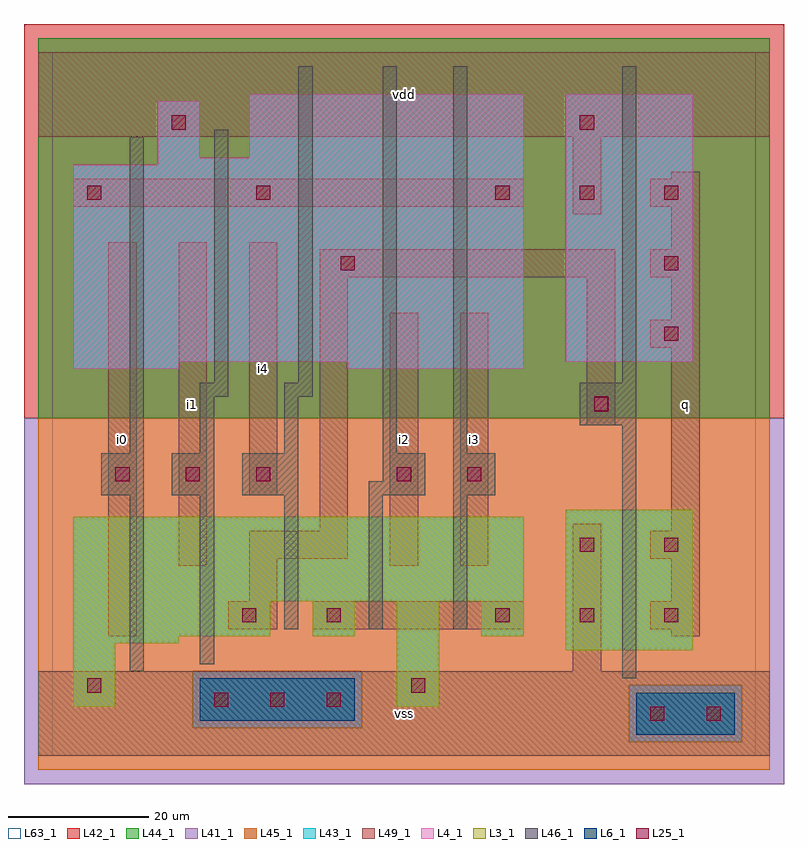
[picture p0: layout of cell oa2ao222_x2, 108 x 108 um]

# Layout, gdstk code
import gdstk
lib = gdstk.Library(unit=1e-6, precision=1e-09)
def R(c, l, rs):  # rectangles x0, y0, x1, y1
    for r in rs: c.add(gdstk.rectangle(r[:2], r[2:], *l))
def A(c, l, x, y, w, h, nx, ny, dx, dy):  # array of equal rectangles
    R(c, l, [(x+i*dx, y+j*dy, x+i*dx+w, y+j*dy+h) for i in range(nx) for j in range(ny)])
L3_1 = (3, 1)
L4_1 = (4, 1)
L6_1 = (6, 1)
L25_1 = (25, 1)
L41_1 = (41, 1)
L42_1 = (42, 1)
L43_1 = (43, 1)
L44_1 = (44, 1)
L45_1 = (45, 1)
L46_1 = (46, 1)
L49_1 = (49, 1)
L63_1 = (63, 1)

oa2ao222_x2 = lib.new_cell('oa2ao222_x2')
R(oa2ao222_x2, L3_1, [(3,7,9,16), (49,7,55,22), (73,15,91,35), (3,16,18,17), (3,17,31,22), (37,17,43,22), (61,17,67,22), (3,22,67,34)])
R(oa2ao222_x2, L4_1, [(3,55,18,56), (42,55,67,56), (3,56,67,84), (73,56,91,94), (15,84,67,85), (15,85,21,93), (28,85,67,94)])
R(oa2ao222_x2, L6_1, [(83,3,97,9), (83,3,97,9), (21,5,43,11), (21,5,43,11)])
A(oa2ao222_x2, L25_1, 23, 7, 2, 2, 3, 1, 8, 0)
A(oa2ao222_x2, L25_1, 63, 19, 2, 2, 3, 2, 12, 60)
A(oa2ao222_x2, L25_1, 9, 39, 2, 2, 3, 1, 10, 0)
R(oa2ao222_x2, L25_1, [(85,5,87,7), (93,5,95,7), (5,9,7,11), (51,9,53,11), (27,19,29,21), (39,19,41,21), (75,29,77,31), (87,29,89,31), (49,39,51,41), (59,39,61,41), (77,49,79,51), (87,59,89,61), (41,69,43,71), (87,69,89,71), (5,79,7,81), (29,79,31,81), (17,89,19,91), (75,89,77,91)])
R(oa2ao222_x2, L41_1, [(-4,-4,104,48)])
R(oa2ao222_x2, L42_1, [(-4,48,104,104)])
R(oa2ao222_x2, L43_1, [(83,3,97,9), (21,5,43,11), (3,7,9,16), (49,7,55,22), (73,15,91,35), (3,16,18,17), (3,17,31,22), (37,17,43,22), (61,17,67,22), (3,22,67,34), (3,55,18,56), (42,55,67,56), (3,56,67,84), (73,56,91,94), (15,84,67,85), (15,85,21,93), (28,85,67,94)])
R(oa2ao222_x2, L44_1, [(82,2,98,10), (20,4,44,12), (-2,48,102,102)])
R(oa2ao222_x2, L45_1, [(-2,-2,102,2), (-2,2,82,4), (98,2,102,10), (-2,4,20,12), (44,4,82,10), (44,10,102,12), (-2,12,102,48)])
A(oa2ao222_x2, L46_1, 33, 18, 2, 19, 3, 1, 12, 0)
R(oa2ao222_x2, L46_1, [(81,11,83,47), (11,12,13,37), (21,13,23,37), (7,37,13,43), (17,37,23,43), (27,37,35,43), (45,37,53,39), (57,37,63,43), (47,39,53,43), (11,43,13,88), (21,43,23,51), (33,43,35,51), (47,43,49,98), (57,43,59,98), (75,47,83,53), (21,51,25,53), (33,51,37,53), (23,53,25,89), (35,53,37,98), (81,53,83,98)])
A(oa2ao222_x2, L49_1, 85, 58, 7, 4, 1, 3, 0, 10)
R(oa2ao222_x2, L49_1, [(-2,0,102,12), (74,12,78,33), (8,17,12,73), (88,17,92,18), (25,18,32,22), (37,18,67,22), (85,18,92,22), (28,22,32,28), (88,22,92,28), (18,27,22,73), (48,27,52,63), (58,27,62,63), (28,28,42,32), (85,28,92,32), (38,32,42,68), (88,32,92,58), (28,37,32,73), (76,47,80,68), (88,62,92,68), (38,68,80,72), (88,72,92,78), (74,77,78,88), (3,78,67,82), (88,82,92,83), (-2,88,102,100)])
R(oa2ao222_x2, L63_1, [(0,0,100,100)])
oa2ao222_x2.add(gdstk.Label('i0', (10,45), layer=49, texttype=1))
oa2ao222_x2.add(gdstk.Label('i1', (20,50), layer=49, texttype=1))
oa2ao222_x2.add(gdstk.Label('i4', (30,55), layer=49, texttype=1))
oa2ao222_x2.add(gdstk.Label('vss', (50,6), layer=49, texttype=1))
oa2ao222_x2.add(gdstk.Label('i2', (50,45), layer=49, texttype=1))
oa2ao222_x2.add(gdstk.Label('vdd', (50,94), layer=49, texttype=1))
oa2ao222_x2.add(gdstk.Label('i3', (60,45), layer=49, texttype=1))
oa2ao222_x2.add(gdstk.Label('q', (90,50), layer=49, texttype=1))

lib.write_gds('oa2ao222_x2.gds')
